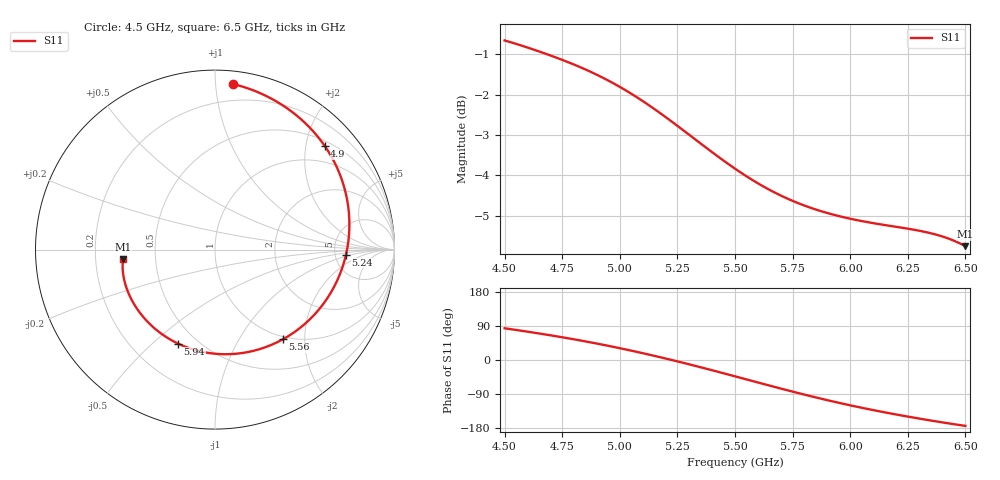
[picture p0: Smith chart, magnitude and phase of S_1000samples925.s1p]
! TOUCHSTONE file generated by CST MICROWAVE STUDIO
! Date and time: Sat Oct 29 19:58:35 2022
! Project name: L.cst
! Parameters = {Di=1.27; Epsilon_r=1.56; InnerDiameter=1.27; Length=2; Lf=10; Lg=60; OuterConductorThickness=0.2921; OuterDiameter=3.6; Wf=3; Wp=41.2; de=1.5; df=6.8; g=0.8; gx=3.74766; gy=2.53288; h=2.34; hf=1.524; px=12.8512; py=8.34592; w=9.7; wx=9.10356; wy=5.81304}
! Header version: 2018
! Port assignment regex: !\s*Touchstone port\s*([0-9]+)\s*=\s*(CST MWS port|CST DS port)\s*([0-9]+|Zmin|Zmax)\s*\(\"(.*)\"\)(\s*mode\s*([0-9]+))?.*
! Touchstone port assignment:
! Touchstone port 1 = CST MWS port 1 ("")
# GHz S DB R 50
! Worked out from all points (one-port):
!   101 points, 4.5 GHz to 6.5 GHz, reference 50 ohm
!   lowest |S11| = -5.8 dB at 6.5 GHz (marker M1), VSWR 3.13, Z = 16 - j2.4 ohm
!   |S11| at or under -10 dB: nowhere
!   S11 on the Smith chart (normalised r, x): 4.5 GHz: 0.08, +1.11; 4.9 GHz: 0.60, +2.38; 5.24 GHz: 6.33, -0.75; 5.56 GHz: 0.95, -1.57; 5.94 GHz: 0.40, -0.61; 6.5 GHz: 0.32, -0.05
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4.5  -0.65 83.7
4.58  -0.79 76.5
4.64  -0.91 70.9
4.76  -1.16 58.9
4.84  -1.35 50.3
4.9  -1.50 43.4
5  -1.80 31.1
5.06  -2.01 23.3
5.12  -2.23 15.1
5.18  -2.47 6.6
5.24  -2.73 -2.2
5.26  -2.81 -5.2
5.32  -3.07 -14.3
5.38  -3.33 -23.8
5.44  -3.59 -33.4
5.5  -3.83 -43.1
5.56  -4.06 -52.9
5.6  -4.20 -59.4
5.66  -4.39 -69.1
5.76  -4.65 -85.0
5.84  -4.82 -97.1
5.94  -4.99 -111.5
6  -5.07 -119.6
6.12  -5.20 -134.6
6.18  -5.26 -141.6
6.26  -5.33 -150.4
6.38  -5.48 -162.7
6.5  -5.75 -173.9
